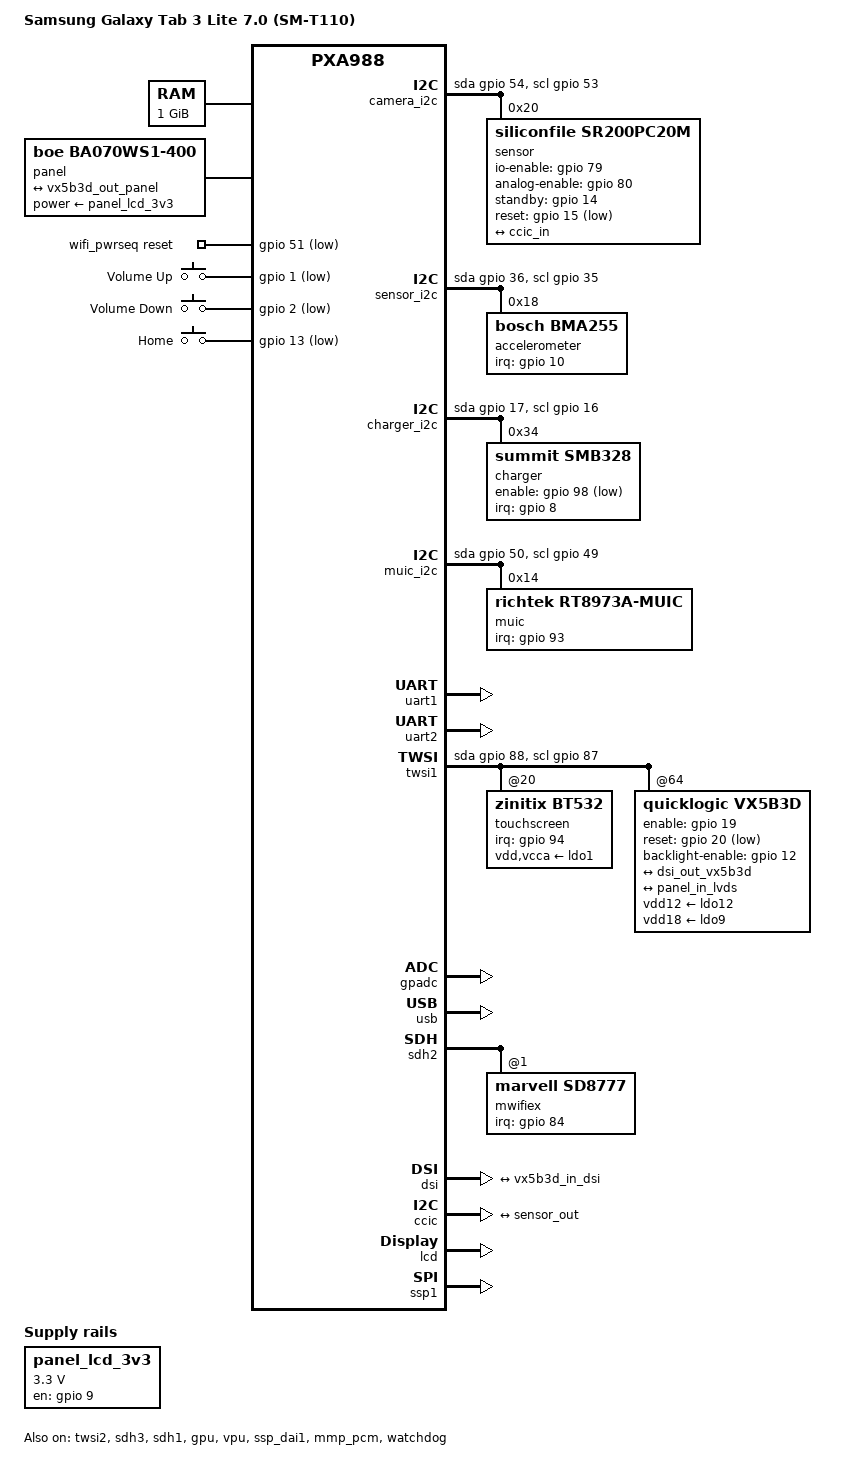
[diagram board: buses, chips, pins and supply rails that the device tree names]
// SPDX-License-Identifier: GPL-2.0
/*
 * Samsung Galaxy Tab 3 Lite 7.0 Wi-Fi (SM-T110 / goyawifi) Device Tree
 *
 * SoC: Marvell PXA986 (PXA988 family, dual Cortex-A9 r3p0)
 * RAM: 1 GiB LPDDR2 @ 0x00000000
 */

/dts-v1/;

#include <dt-bindings/gpio/gpio.h>
#include <dt-bindings/input/input.h>
#include <dt-bindings/interrupt-controller/irq.h>
#include <dt-bindings/thermal/thermal.h>
#include "pxa988.dtsi"
#include "pxa986-samsung-goyawifi-pins.dtsi"

/ {
	model = "Samsung Galaxy Tab 3 Lite 7.0 (SM-T110)";
	compatible = "samsung,goyawifi", "marvell,pxa986", "marvell,pxa988";

	aliases {
		i2c1 = &twsi1;
		i2c2 = &twsi2;
		i2c5 = &sensor_i2c;
		i2c6 = &charger_i2c;
		i2c7 = &muic_i2c;
		mmc0 = &sdh3;
		mmc1 = &sdh1;
		mmc2 = &sdh2;
	};

	chosen {
		#address-cells = <1>;
		#size-cells = <1>;
		ranges;
		bootargs = "console=ttyS0,115200 console=tty0 earlyprintk panic=10";
		stdout-path = "serial0:115200n8";

		framebuffer0: framebuffer@17000000 {
			compatible = "simple-framebuffer";
			reg = <0x17000000 (1024 * 600 * 4)>;
			width = <1024>;
			height = <600>;
			stride = <4096>;
			format = "a8r8g8b8";
			status = "disabled";
		};
	};

	memory@0 {
		device_type = "memory";
		reg = <0x00000000 0x40000000>;
	};

	reserved-memory {
		#address-cells = <1>;
		#size-cells = <1>;
		ranges;

		/*
		 * 0x00000000..0x000fffff: Marvell OBM / secure boot ROM area
		 * (covered by TEXT_OFFSET = 0x00108000, reserved as no-map).
		 */
		obm_reserved: obm@0 {
			reg = <0x00000000 0x00100000>;
			no-map;
		};

		/*
		 * 0x06000000..0x080fffff: CP / MSA carveout (32 MiB) +
		 * 1 MiB OBM / shared parameter page at 0x08000000 (HW-protected).
		 */
		cp_reserved: cp@6000000 {
			reg = <0x06000000 0x02100000>;
			no-map;
		};

		/*
		 * 0x08100000..0x0817ffff: ramoops / persistent_ram (512 KiB).
		 *
		 * With record-size = <0> and console-size = <0x00040000>,
		 * Linux 4.19 places the 256 KiB RS8-ECC console ring buffer
		 * right at 0x08100000 with signature 0x43474244 ("DBGC"),
		 * matching TWRP recovery's /proc/last_kmsg reader byte-for-byte.
		 */
		ramoops: ramoops@8100000 {
			compatible = "ramoops";
			reg = <0x08100000 0x00080000>;
			record-size = <0>;
			console-size = <0x00040000>;
			ftrace-size = <0x00020000>;
			pmsg-size = <0x00020000>;
			ecc-size = <16>;
			unbuffered;
			no-map;
		};

		/*
		 * 96 MiB shared reusable CMA pool in 0x20000000..0x2fffffff
		 * (lowmem) for DRM scanout, GPU, camera, and VPU buffers.
		 */
		linux,cma {
			compatible = "shared-dma-pool";
			reusable;
			size = <0x06000000>;
			alignment = <0x00100000>;
			alloc-ranges = <0x20000000 0x10000000>;
			linux,cma-default;
		};
	};

	panel_lcd_3v3: regulator-panel-lcd-3v3 {
		compatible = "regulator-fixed";
		regulator-name = "panel_lcd_3v3";
		regulator-min-microvolt = <3300000>;
		regulator-max-microvolt = <3300000>;
		gpio = <&gpio 9 GPIO_ACTIVE_HIGH>;
		enable-active-high;
		regulator-boot-on;
	};

	panel: panel {
		compatible = "boe,ba070ws1-400", "panel-lvds";
		width-mm = <154>;
		height-mm = <90>;
		data-mapping = "vesa-24";
		power-supply = <&panel_lcd_3v3>;

		panel-timing {
			clock-frequency = <51919000>;
			hactive = <1024>;
			vactive = <600>;
			hfront-porch = <123>;
			hsync-len = <120>;
			hback-porch = <100>;
			vfront-porch = <13>;
			vsync-len = <10>;
			vback-porch = <10>;
			hsync-active = <1>;
			vsync-active = <1>;
		};

		port {
			panel_in_lvds: endpoint {
				remote-endpoint = <&vx5b3d_out_panel>;
			};
		};
	};

	/* Bit-banged I2C buses */
	camera_i2c: i2c-camera {
		compatible = "i2c-gpio";
		sda-gpios = <&gpio 54 (GPIO_ACTIVE_HIGH | GPIO_OPEN_DRAIN)>;
		scl-gpios = <&gpio 53 (GPIO_ACTIVE_HIGH | GPIO_OPEN_DRAIN)>;
		i2c-gpio,delay-us = <5>;	/* ~100 kHz */
		#address-cells = <1>;
		#size-cells = <0>;
		pinctrl-names = "default";
		pinctrl-0 = <&i2c_camera_pins>;
		status = "okay";

		sensor@20 {
			compatible = "siliconfile,sr200pc20m";
			reg = <0x20>;
			clocks = <&ccic>;
			io-enable-gpios = <&gpio 79 GPIO_ACTIVE_HIGH>;
			analog-enable-gpios = <&gpio 80 GPIO_ACTIVE_HIGH>;
			standby-gpios = <&gpio 14 GPIO_ACTIVE_HIGH>;
			reset-gpios = <&gpio 15 GPIO_ACTIVE_LOW>;
			pinctrl-names = "default";
			pinctrl-0 = <&camera_pins>;

			port {
				sensor_out: endpoint {
					remote-endpoint = <&ccic_in>;
					clock-lanes = <0>;
					data-lanes = <1>;
				};
			};
		};
	};

	sensor_i2c: i2c-sensor {
		compatible = "i2c-gpio";
		sda-gpios = <&gpio 36 (GPIO_ACTIVE_HIGH | GPIO_OPEN_DRAIN)>;
		scl-gpios = <&gpio 35 (GPIO_ACTIVE_HIGH | GPIO_OPEN_DRAIN)>;
		i2c-gpio,delay-us = <5>;	/* ~100 kHz */
		#address-cells = <1>;
		#size-cells = <0>;
		pinctrl-names = "default";
		pinctrl-0 = <&i2c_sensor_pins>;
		status = "okay";

		accelerometer@18 {
			compatible = "bosch,bma255";
			reg = <0x18>;
			pinctrl-names = "default";
			pinctrl-0 = <&accel_pins>;
			interrupt-parent = <&gpio>;
			interrupts = <10 IRQ_TYPE_EDGE_RISING>;
			mount-matrix = "0", "1", "0",
				       "1", "0", "0",
				       "0", "0", "-1";
		};
	};

	charger_i2c: i2c-charger {
		compatible = "i2c-gpio";
		sda-gpios = <&gpio 17 (GPIO_ACTIVE_HIGH | GPIO_OPEN_DRAIN)>;
		scl-gpios = <&gpio 16 (GPIO_ACTIVE_HIGH | GPIO_OPEN_DRAIN)>;
		i2c-gpio,delay-us = <5>;	/* ~100 kHz */
		#address-cells = <1>;
		#size-cells = <0>;
		pinctrl-names = "default";
		pinctrl-0 = <&i2c_charger_pins>;
		status = "okay";

		charger: charger@34 {
			compatible = "summit,smb328";
			reg = <0x34>;
			pinctrl-names = "default";
			pinctrl-0 = <&charger_pins>;
			interrupt-parent = <&gpio>;
			interrupts = <8 IRQ_TYPE_EDGE_FALLING>;
			enable-gpios = <&gpio 98 GPIO_ACTIVE_LOW>;
			extcon = <&muic>;
			monitored-battery = <&battery>;
			summit,dcp-input-current-microamp = <500000>;
			summit,fast-charge-current-microamp = <500000>;
			summit,float-voltage-microvolt = <4320000>;
		};
	};

	muic_i2c: i2c-muic {
		compatible = "i2c-gpio";
		sda-gpios = <&gpio 50 (GPIO_ACTIVE_HIGH | GPIO_OPEN_DRAIN)>;
		scl-gpios = <&gpio 49 (GPIO_ACTIVE_HIGH | GPIO_OPEN_DRAIN)>;
		i2c-gpio,delay-us = <5>;	/* ~100 kHz */
		#address-cells = <1>;
		#size-cells = <0>;
		pinctrl-names = "default";
		pinctrl-0 = <&i2c_muic_pins>;
		status = "okay";

		muic: muic@14 {
			compatible = "richtek,rt8973a-muic";
			reg = <0x14>;
			pinctrl-names = "default";
			pinctrl-0 = <&muic_pins>;
			interrupt-parent = <&gpio>;
			interrupts = <93 IRQ_TYPE_EDGE_FALLING>;
		};
	};

	wifi_pwrseq: wifi-pwrseq {
		compatible = "mmc-pwrseq-simple";
		reset-gpios = <&gpio 51 GPIO_ACTIVE_LOW>;
		post-power-on-delay-ms = <20>;
	};

	gpio-keys {
		compatible = "gpio-keys";
		pinctrl-names = "default";
		pinctrl-0 = <&gpio_keys_pins &home_key_pins>;

		volume-up {
			label = "Volume Up";
			linux,code = <KEY_VOLUMEUP>;
			gpios = <&gpio 1 GPIO_ACTIVE_LOW>;
			debounce-interval = <30>;
		};

		volume-down {
			label = "Volume Down";
			linux,code = <KEY_VOLUMEDOWN>;
			gpios = <&gpio 2 GPIO_ACTIVE_LOW>;
			debounce-interval = <30>;
		};

		home {
			label = "Home";
			linux,code = <KEY_HOME>;
			gpios = <&gpio 13 GPIO_ACTIVE_LOW>;
			debounce-interval = <30>;
			wakeup-source;
		};
	};
};

/* MFPR Pin Controller */
&pmx {
	status = "okay";
};

/* GPIO Controller */
&gpio {
	status = "okay";
};

/* Peripheral DMA */
&pdma0 {
	status = "okay";
};

/* Audio SRAM TDMA */
&adma0 {
	status = "okay";
};

/* Debug UART (UART1 -> ttyS0) */
&uart1 {
	pinctrl-names = "default";
	pinctrl-0 = <&uart1_pins>;
	status = "okay";
};

/* GPS UART (UART2 -> ttyS1) */
&uart2 {
	pinctrl-names = "default";
	pinctrl-0 = <&uart2_pins>;
	status = "okay";
};

/* Shared Touchscreen & Display Bridge I2C Bus */
&twsi1 {
	pinctrl-names = "default", "gpio";
	pinctrl-0 = <&twsi1_pins>;
	pinctrl-1 = <&twsi1_gpio_pins>;
	scl-gpios = <&gpio 87 (GPIO_ACTIVE_HIGH | GPIO_OPEN_DRAIN)>;
	sda-gpios = <&gpio 88 (GPIO_ACTIVE_HIGH | GPIO_OPEN_DRAIN)>;
	mrvl,i2c-fast-mode;
	status = "okay";

	touchscreen@20 {
		compatible = "zinitix,bt532";
		reg = <0x20>;
		pinctrl-names = "default";
		pinctrl-0 = <&touch_pins>;
		interrupt-parent = <&gpio>;
		interrupts = <94 IRQ_TYPE_EDGE_FALLING>;
		vdd-supply = <&ldo1>;
		vcca-supply = <&ldo1>;
		touchscreen-size-x = <600>;
		touchscreen-size-y = <1024>;
		zinitix,mode = <0>;
		linux,keycodes = <KEY_RESERVED KEY_MENU KEY_BACK KEY_RESERVED>;
	};

	vx5b3d@64 {
		compatible = "quicklogic,vx5b3d";
		reg = <0x64>;
		pinctrl-names = "default";
		pinctrl-0 = <&display_pins>;
		vdd12-supply = <&ldo12>;
		vdd18-supply = <&ldo9>;
		enable-gpios = <&gpio 19 GPIO_ACTIVE_HIGH>;
		reset-gpios = <&gpio 20 GPIO_ACTIVE_LOW>;
		backlight-enable-gpios = <&gpio 12 GPIO_ACTIVE_HIGH>;

		ports {
			#address-cells = <1>;
			#size-cells = <0>;

			port@0 {
				reg = <0>;
				vx5b3d_in_dsi: endpoint {
					remote-endpoint = <&dsi_out_vx5b3d>;
				};
			};

			port@1 {
				reg = <1>;
				vx5b3d_out_panel: endpoint {
					remote-endpoint = <&panel_in_lvds>;
				};
			};
		};
	};
};

/* Dedicated PMIC & Audio Codec I2C Bus */
&twsi2 {
	status = "okay";

	pmic: pmic@30 {
		compatible = "marvell,88pm822", "marvell,88pm800";
		reg = <0x30>;
		interrupts = <GIC_SPI 4 IRQ_TYPE_LEVEL_HIGH>;
		interrupt-parent = <&gic>;

		regulators {
			compatible = "marvell,88pm822-regulator", "marvell,88pm80x-regulator";

			buck1: buck1 {
				regulator-name = "vcc_main";
				/* Shared CPU/DDR/GPU/CP floor: 1175 mV (VL2) */
				regulator-min-microvolt = <1175000>;
				regulator-max-microvolt = <1800000>;
				regulator-boot-on;
				regulator-always-on;
			};

			buck2: buck2 {
				regulator-name = "v_buck2";
				regulator-min-microvolt = <600000>;
				regulator-max-microvolt = <1800000>;
				regulator-boot-on;
				regulator-always-on;
			};

			buck3: buck3 {
				regulator-name = "v_buck3";
				regulator-min-microvolt = <600000>;
				regulator-max-microvolt = <1800000>;
				regulator-boot-on;
				regulator-always-on;
			};

			buck4: buck4 {
				regulator-name = "v_buck4";
				regulator-min-microvolt = <600000>;
				regulator-max-microvolt = <1800000>;
				regulator-boot-on;
				regulator-always-on;
			};

			buck5: buck5 {
				regulator-name = "v_buck5";
				regulator-min-microvolt = <600000>;
				regulator-max-microvolt = <3950000>;
				regulator-boot-on;
				regulator-always-on;
			};

			ldo1: ldo1 {
				regulator-name = "v_tsp_3v3";
				regulator-min-microvolt = <2800000>;
				regulator-max-microvolt = <2800000>;
				regulator-enable-ramp-delay = <15000>;
				regulator-boot-on;
				regulator-always-on;
			};

			ldo2: ldo2 {
				regulator-name = "v_ldo2";
				regulator-min-microvolt = <1800000>;
				regulator-max-microvolt = <1800000>;
				regulator-boot-on;
				regulator-always-on;
			};

			ldo3: ldo3 {
				regulator-name = "v_mem_a_2v8";
				regulator-min-microvolt = <2800000>;
				regulator-max-microvolt = <3300000>;
				regulator-boot-on;
				regulator-always-on;
			};

			ldo4: ldo4 {
				regulator-name = "v_sd_3v3";
				regulator-min-microvolt = <2800000>;
				regulator-max-microvolt = <3300000>;
				regulator-boot-on;
				regulator-always-on;
			};

			ldo5: ldo5 {
				regulator-name = "v_mmc_3v3";
				regulator-min-microvolt = <1200000>;
				regulator-max-microvolt = <3300000>;
				regulator-boot-on;
				regulator-always-on;
			};

			ldo6: ldo6 {
				regulator-name = "v_ldo6";
				regulator-min-microvolt = <1800000>;
				regulator-max-microvolt = <1800000>;
				regulator-boot-on;
				regulator-always-on;
			};

			ldo7: ldo7 {
				regulator-name = "v_ldo7";
				regulator-min-microvolt = <1800000>;
				regulator-max-microvolt = <1800000>;
				regulator-boot-on;
				regulator-always-on;
			};

			ldo8: ldo8 {
				regulator-name = "v_ldo8";
				regulator-min-microvolt = <3100000>;
				regulator-max-microvolt = <3300000>;
				regulator-boot-on;
				regulator-always-on;
			};

			ldo9: ldo9 {
				regulator-name = "v_ldo9";
				regulator-min-microvolt = <1800000>;
				regulator-max-microvolt = <1800000>;
				regulator-boot-on;
				regulator-always-on;
			};

			ldo10: ldo10 {
				regulator-name = "v_wib_3v3";
				regulator-min-microvolt = <3300000>;
				regulator-max-microvolt = <3300000>;
			};

			ldo11: ldo11 {
				regulator-name = "v_ldo11";
				regulator-min-microvolt = <2800000>;
				regulator-max-microvolt = <2800000>;
				regulator-boot-on;
				regulator-always-on;
			};

			ldo12: ldo12 {
				regulator-name = "v_ldo12";
				regulator-min-microvolt = <1200000>;
				regulator-max-microvolt = <1200000>;
				regulator-boot-on;
				regulator-always-on;
			};

			ldo13: ldo13 {
				regulator-name = "v_ldo13";
				regulator-min-microvolt = <1800000>;
				regulator-max-microvolt = <1800000>;
				regulator-boot-on;
				regulator-always-on;
			};

			ldo14: ldo14 {
				regulator-name = "v_ldo14";
				regulator-min-microvolt = <2800000>;
				regulator-max-microvolt = <2800000>;
				regulator-boot-on;
				regulator-always-on;
			};

			voutsw: voutsw {
				regulator-name = "v_buck2_sw";
				regulator-boot-on;
				regulator-always-on;
			};
		};

		rtc {
			compatible = "marvell,88pm822-rtc", "marvell,88pm80x-rtc";
		};

		onkey {
			compatible = "marvell,88pm822-onkey", "marvell,88pm80x-onkey";
		};

		gpadc {
			compatible = "marvell,88pm822-gpadc";
		};

		battery: battery {
			compatible = "marvell,88pm822-battery";
			power-supplies = <&charger>;
		};
	};

	pm805: codec@38 {
		compatible = "marvell,88pm805";
		reg = <0x38>;
		marvell,pmic = <&pmic>;
		micbias-supply = <&ldo14>;
	};
};

/* ChipIdea USB 2.0 Device Controller */
&usb {
	extcon = <&muic>;
	force-vbus;
	status = "okay";
};

/* eMMC Internal Storage (SanDisk 8GB) */
&sdh3 {
	pinctrl-names = "default";
	pinctrl-0 = <&sdh3_emmc_pins>;
	bus-width = <8>;
	non-removable;
	no-sd;
	no-sdio;
	no-1-8-v;
	max-frequency = <26000000>;
	assigned-clocks = <&soc_clocks PXA988_CLK_SDH2>;
	assigned-clock-rates = <52000000>;
	mrvl,clk-delay-cycles = <15>;
	status = "okay";
};

/* microSD Card Slot (CD600) */
&sdh1 {
	pinctrl-names = "default";
	pinctrl-0 = <&sdh1_pins>;
	bus-width = <4>;
	cd-gpios = <&gpio 11 GPIO_ACTIVE_LOW>;
	cd-debounce-delay-ms = <200>;
	disable-wp;
	vmmc-supply = <&ldo4>;
	vqmmc-supply = <&ldo5>;
	cap-sd-highspeed;
	no-1-8-v;
	max-frequency = <50000000>;
	assigned-clocks = <&soc_clocks PXA988_CLK_SDH0>;
	assigned-clock-rates = <52000000>;
	status = "okay";
};

/* Marvell 88W8777 SDIO Wi-Fi / Bluetooth */
&sdh2 {
	pinctrl-names = "default";
	pinctrl-0 = <&sdh2_wlan_pins &wlan_bt_ctrl_pins &wlan_wake_pins>;
	bus-width = <4>;
	non-removable;
	no-sd;
	no-mmc;
	no-1-8-v;
	cap-sdio-irq;
	keep-power-in-suspend;
	vmmc-supply = <&ldo10>;
	mmc-pwrseq = <&wifi_pwrseq>;
	max-frequency = <26000000>;
	assigned-clocks = <&soc_clocks PXA988_CLK_SDH1>;
	assigned-clock-rates = <52000000>;
	mrvl,clk-delay-cycles = <15>;
	#address-cells = <1>;
	#size-cells = <0>;
	status = "okay";

	mwifiex: wifi@1 {
		compatible = "marvell,sd8777";
		reg = <1>;
		interrupt-parent = <&gpio>;
		interrupts = <84 IRQ_TYPE_EDGE_FALLING>;
		marvell,wakeup-pin = <9>;
	};
};

/* Full KMS + MIPI DSI -> VX5B3D -> LVDS Panel Display Pipeline */
&dsi {
	status = "okay";

	ports {
		port@1 {
			reg = <1>;
			dsi_out_vx5b3d: endpoint {
				remote-endpoint = <&vx5b3d_in_dsi>;
			};
		};
	};
};

&ccic {
	status = "okay";

	port {
		ccic_in: endpoint {
			remote-endpoint = <&sensor_out>;
			clock-lanes = <0>;
			data-lanes = <1>;
		};
	};
};

&lcd {
	status = "okay";
};

&gc_power {
	power-supply = <&buck1>;
	status = "okay";
};

&gpu {
	status = "okay";
};

&vpu_power {
	power-supply = <&buck1>;
	status = "okay";
};

&vpu {
	status = "okay";
};

&thermal {
	status = "okay";
};

&ssp1 {
	pinctrl-names = "default";
	pinctrl-0 = <&i2s_pins>;
	status = "okay";
};

&ssp_dai1 {
	status = "okay";
};

&mmp_pcm {
	status = "okay";
};

/ {
	sound: sound@d4050044 {
		compatible = "marvell,pxa-88pm805-snd-card";
		reg = <0xd4050044 0x4>;
		cpu-dai = <&ssp_dai1>;
		audio-codec = <&pm805>;
		platform = <&mmp_pcm>;
	};

	thermal-zones {
		cpu_thermal: cpu-thermal {
			polling-delay-passive = <1000>;
			polling-delay = <5000>;
			thermal-sensors = <&thermal>;

			trips {
				cpu_alert0: trip-point0 {
					temperature = <85000>;
					hysteresis = <2000>;
					type = "passive";
				};

				cpu_alert1: trip-point1 {
					temperature = <95000>;
					hysteresis = <2000>;
					type = "passive";
				};

				cpu_crit: trip-point2 {
					temperature = <110000>;
					hysteresis = <2000>;
					type = "critical";
				};
			};

			cooling-maps {
				map0 {
					trip = <&cpu_alert0>;
					cooling-device = <&cpu0 1 2>;
				};

				map1 {
					trip = <&cpu_alert1>;
					cooling-device = <&cpu0 2 THERMAL_NO_LIMIT>;
				};
			};
		};
	};

	cpu_opp_table: opp-table-cpu {
		compatible = "operating-points-v2";
		opp-shared;

		opp-312000000 {
			opp-hz = /bits/ 64 <312000000>;
			opp-microvolt = <1175000 1175000 1400000>;
			clock-latency-ns = <100000>;
		};

		opp-624000000 {
			opp-hz = /bits/ 64 <624000000>;
			opp-microvolt = <1175000 1175000 1400000>;
			clock-latency-ns = <100000>;
		};

		opp-1066000000 {
			opp-hz = /bits/ 64 <1066000000>;
			opp-microvolt = <1175000 1175000 1400000>;
			clock-latency-ns = <100000>;
		};

		opp-1204666667 {
			opp-hz = /bits/ 64 <1204666667>;
			opp-microvolt = <1275000 1275000 1400000>;
			clock-latency-ns = <100000>;
		};
	};

	ddr_opp_table: opp-table-ddr {
		compatible = "operating-points-v2";

		opp-312000000 {
			opp-hz = /bits/ 64 <312000000>;
			opp-microvolt = <1175000 1175000 1400000>;
		};

		opp-533000000 {
			opp-hz = /bits/ 64 <533000000>;
			opp-microvolt = <1275000 1275000 1400000>;
		};
	};

	ddr_devfreq: ddr@c0100000 {
		compatible = "marvell,pxa988-ddr";
		reg = <0xc0100000 0x1000>;
		clocks = <&soc_clocks PXA988_CLK_DDR>;
		ddr-supply = <&buck1>;
		operating-points-v2 = <&ddr_opp_table>;
	};
};

&cpu0 {
	operating-points-v2 = <&cpu_opp_table>;
	cpu-supply = <&buck1>;
};

&cpu1 {
	operating-points-v2 = <&cpu_opp_table>;
	cpu-supply = <&buck1>;
};

&watchdog {
	status = "okay";
};
